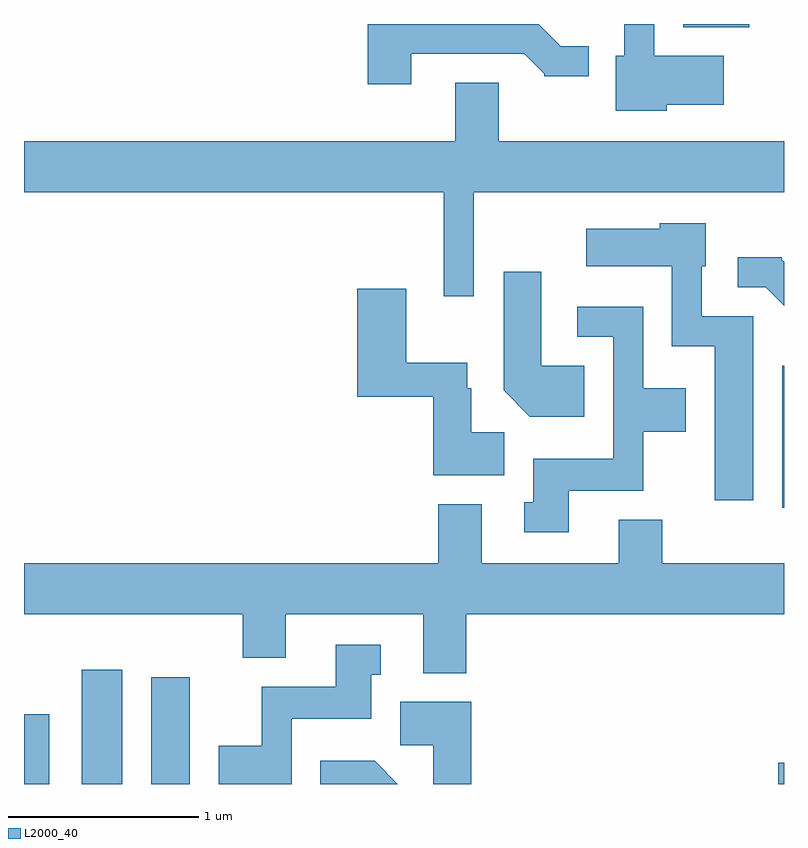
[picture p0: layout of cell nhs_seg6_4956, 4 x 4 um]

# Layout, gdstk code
import gdstk
lib = gdstk.Library(unit=1e-6, precision=1e-09)
def R(c, l, rs):  # rectangles x0, y0, x1, y1
    for r in rs: c.add(gdstk.rectangle(r[:2], r[2:], *l))
def P(c, l, *ps):  # polygons
    for p in ps: c.add(gdstk.Polygon(p, *l))
L2000_40 = (2000, 40)

nhs_seg6_4956 = lib.new_cell('nhs_seg6_4956')
R(nhs_seg6_4956, L2000_40, [(335.611,1640.162,335.744,1640.529), (335.916,1640.162,336.129,1640.764), (336.281,1640.162,336.484,1640.724), (339.581,1640.162,339.611,1640.274), (339.601,1641.616,339.611,1642.364), (339.081,1644.146,339.428,1644.162)])
P(nhs_seg6_4956, L2000_40, [(337.649,1644.006),(338.244,1644.006),(338.35,1643.9),(338.35,1643.886),(338.583,1643.886),(338.583,1644.044),(338.437,1644.044),(338.319,1644.162),(337.421,1644.162),(337.421,1643.846),(337.649,1643.846)],
  [(338.994,1643.736),(339.294,1643.736),(339.294,1643.994),(338.929,1643.994),(338.929,1644.162),(338.771,1644.162),(338.771,1643.994),(338.726,1643.994),(338.726,1643.706),(338.994,1643.706)],
  [(337.979,1643.276),(339.611,1643.276),(339.611,1643.544),(338.109,1643.544),(338.109,1643.854),(337.881,1643.854),(337.881,1643.544),(335.611,1643.544),(335.611,1643.276),(337.821,1643.276),(337.821,1642.728),(337.979,1642.728)],
  [(339.449,1642.624),(339.179,1642.624),(339.179,1642.886),(339.199,1642.886),(339.199,1643.114),(338.956,1643.114),(338.956,1643.084),(338.571,1643.084),(338.571,1642.886),(339.021,1642.886),(339.021,1642.466),(339.246,1642.466),(339.246,1641.656),(339.449,1641.656)],
  [(339.611,1642.91),(339.6,1642.921),(339.6,1642.934),(339.368,1642.934),(339.368,1642.776),(339.514,1642.776),(339.611,1642.679)],
  [(338.559,1642.364),(338.334,1642.364),(338.334,1642.859),(338.136,1642.859),(338.136,1642.234),(338.274,1642.096),(338.559,1642.096)],
  [(338.139,1642.014),(337.964,1642.014),(337.964,1642.244),(337.944,1642.244),(337.944,1642.379),(337.624,1642.379),(337.624,1642.769),(337.366,1642.769),(337.366,1642.201),(337.766,1642.201),(337.766,1641.786),(338.139,1641.786)],
  [(338.479,1641.706),(338.869,1641.706),(338.869,1642.016),(339.094,1642.016),(339.094,1642.244),(338.869,1642.244),(338.869,1642.674),(338.523,1642.674),(338.523,1642.516),(338.711,1642.516),(338.711,1641.874),(338.291,1641.874),(338.291,1641.644),(338.243,1641.644),(338.243,1641.486),(338.479,1641.486)],
  [(337.939,1641.056),(339.611,1641.056),(339.611,1641.324),(338.969,1641.324),(338.969,1641.554),(338.741,1641.554),(338.741,1641.324),(338.019,1641.324),(338.019,1641.634),(337.791,1641.634),(337.791,1641.324),(335.611,1641.324),(335.611,1641.056),(336.761,1641.056),(336.761,1640.826),(336.989,1640.826),(336.989,1641.056),(337.711,1641.056),(337.711,1640.746),(337.939,1640.746)],
  [(337.019,1640.506),(337.439,1640.506),(337.439,1640.736),(337.488,1640.736),(337.488,1640.894),(337.251,1640.894),(337.251,1640.674),(336.861,1640.674),(336.861,1640.364),(336.636,1640.364),(336.636,1640.162),(337.019,1640.162)],
  [(337.964,1640.594),(337.591,1640.594),(337.591,1640.366),(337.766,1640.366),(337.766,1640.162),(337.964,1640.162)],
  [(337.457,1640.284),(337.171,1640.284),(337.171,1640.162),(337.579,1640.162)])

lib.write_gds('nhs_seg6_4956.gds')
